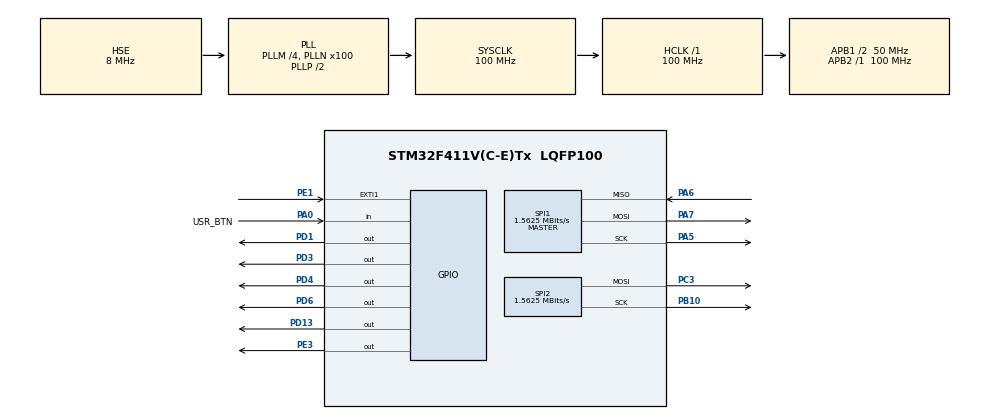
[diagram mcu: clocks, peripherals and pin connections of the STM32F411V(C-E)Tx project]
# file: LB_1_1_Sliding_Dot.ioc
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Mcu.Family=STM32F4
Mcu.Name=STM32F411V(C-E)Tx
Mcu.Package=LQFP100
NVIC.EXTI1_IRQn=true\:0\:0\:false\:true\:true\:1\:true\:true
NVIC.PriorityGroup=NVIC_PRIORITYGROUP_4
NVIC.TIM3_IRQn=true\:0\:0\:false\:true\:true\:2\:true\:true
PA0-WKUP.GPIO_Label=USR_BTN
PA0-WKUP.GPIO_PuPd=GPIO_PULLDOWN
PA0-WKUP.Signal=GPIO_Input
PA5.Mode=Full_Duplex_Master
PA5.Signal=SPI1_SCK
PA6.Mode=Full_Duplex_Master
PA6.Signal=SPI1_MISO
PA7.Mode=Full_Duplex_Master
PA7.Signal=SPI1_MOSI
PB10.Mode=TX_Only_Simplex_Unidirect_Master
PB10.Signal=SPI2_SCK
PC3.Mode=TX_Only_Simplex_Unidirect_Master
PC3.Signal=SPI2_MOSI
PD1.GPIO_PuPd=GPIO_NOPULL
PD1.Signal=GPIO_Output
PD13.Signal=GPIO_Output
PD3.GPIO_PuPd=GPIO_NOPULL
PD3.Signal=GPIO_Output
PD4.GPIO_PuPd=GPIO_NOPULL
PD4.Signal=GPIO_Output
PD6.Signal=GPIO_Output
PE1.GPIO_PuPd=GPIO_PULLDOWN
PE1.Signal=GPXTI1
PE3.GPIO_PuPd=GPIO_NOPULL
PE3.GPIO_Speed=GPIO_SPEED_FREQ_HIGH
PE3.PinState=GPIO_PIN_SET
PE3.Signal=GPIO_Output
PH0\ -\ OSC_IN.Mode=HSE-External-Oscillator
PH0\ -\ OSC_IN.Signal=RCC_OSC_IN
PH1\ -\ OSC_OUT.Mode=HSE-External-Oscillator
PH1\ -\ OSC_OUT.Signal=RCC_OSC_OUT
ProjectManager.HeapSize=0x200
ProjectManager.StackSize=0x400
ProjectManager.TargetToolchain=MDK-ARM V5.32
RCC.48MHZClocksFreq_Value=50000000
RCC.AHBFreq_Value=100000000
RCC.APB1CLKDivider=RCC_HCLK_DIV2
RCC.APB1Freq_Value=50000000
RCC.APB1TimFreq_Value=100000000
RCC.APB2Freq_Value=100000000
RCC.APB2TimFreq_Value=100000000
RCC.CortexFreq_Value=100000000
RCC.HCLKFreq_Value=100000000
RCC.HSE_VALUE=8000000
RCC.HSI_VALUE=16000000
RCC.LSE_VALUE=32768
RCC.PLLM=4
RCC.PLLN=100
RCC.PLLSourceVirtual=RCC_PLLSOURCE_HSE
RCC.SYSCLKFreq_VALUE=100000000
RCC.SYSCLKSource=RCC_SYSCLKSOURCE_PLLCLK
RCC.VCOOutputFreq_Value=200000000
SPI1.BaudRatePrescaler=SPI_BAUDRATEPRESCALER_64
SPI1.CalculateBaudRate=1.5625 MBits/s
SPI1.Direction=SPI_DIRECTION_2LINES
SPI1.Mode=SPI_MODE_MASTER
SPI1.VirtualType=VM_MASTER
SPI2.BaudRatePrescaler=SPI_BAUDRATEPRESCALER_32
SPI2.CalculateBaudRate=1.5625 MBits/s
SPI2.Direction=SPI_DIRECTION_2LINES
SPI2.Mode=SPI_MODE_MASTER
SPI2.VirtualType=VM_MASTER
TIM3.Period=50000-1
TIM3.Prescaler=5-1
VP_TIM3_VS_ClockSourceINT.Mode=Internal
board=custom

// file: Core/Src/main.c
/* USER CODE BEGIN Header */
/**
  ******************************************************************************
  * @file           : main.c
  * @brief          : Main program body
  ******************************************************************************
  * @attention
  *
  * <h2><center>&copy; Copyright (c) 2023 STMicroelectronics.
  * All rights reserved.</center></h2>
  *
  * This software component is licensed by ST under BSD 3-Clause license,
  * the "License"; You may not use this file except in compliance with the
  * License. You may obtain a copy of the License at:
  *                        opensource.org/licenses/BSD-3-Clause
  *
  ******************************************************************************
  */
/* USER CODE END Header */
#include "main.h"

SPI_HandleTypeDef hspi1;
SPI_HandleTypeDef hspi2;

TIM_HandleTypeDef htim3;

/* USER CODE BEGIN PV */

int16_t gyro_data[3] = {0};

int16_t gyro_x = 0;
int16_t gyro_y = 0;
int16_t gyro_z = 0;

Pixel p1 = {16, 8};

/* USER CODE END PV */

void SystemClock_Config(void);
static void MX_GPIO_Init(void);
static void MX_SPI1_Init(void);
static void MX_SPI2_Init(void);
static void MX_TIM3_Init(void);
static void MX_NVIC_Init(void);

int main(void)
{

  /* MCU Configuration--------------------------------------------------------*/

  /* Reset of all peripherals, Initializes the Flash interface and the Systick. */
  HAL_Init();

  /* Configure the system clock */
  SystemClock_Config();

  /* Initialize all configured peripherals */
  MX_GPIO_Init();
  MX_SPI1_Init();
  MX_SPI2_Init();
  MX_TIM3_Init();

  /* Initialize interrupts */
  MX_NVIC_Init();
  /* USER CODE BEGIN 2 */

	HAL_TIM_Base_Start_IT(&htim3);

	L3GD20_Ini();
	L3GD20_GetXYZ(gyro_data);

  /* USER CODE END 2 */

  /* Infinite loop */
  /* USER CODE BEGIN WHILE */
    while (1) {

			gyro_x = gyro_data[0] - 25;
			gyro_y = gyro_data[1] + 280;
			gyro_z = gyro_data[2];

      if (HAL_GPIO_ReadPin(USR_BTN_GPIO_Port, USR_BTN_Pin)) {
				p1.x = 16;
				p1.y = 8;
			}

			UpdateCenterPosition(&p1, gyro_y, -gyro_x);
			HAL_Delay(20);

    /* USER CODE END WHILE */

    }
}

void SystemClock_Config(void)
{
  RCC_OscInitTypeDef RCC_OscInitStruct = {0};
  RCC_ClkInitTypeDef RCC_ClkInitStruct = {0};

  /** Configure the main internal regulator output voltage
  */
  __HAL_RCC_PWR_CLK_ENABLE();
  __HAL_PWR_VOLTAGESCALING_CONFIG(PWR_REGULATOR_VOLTAGE_SCALE1);
  /** Initializes the RCC Oscillators according to the specified parameters
  * in the RCC_OscInitTypeDef structure.
  */
  RCC_OscInitStruct.OscillatorType = RCC_OSCILLATORTYPE_HSE;
  RCC_OscInitStruct.HSEState = RCC_HSE_ON;
  RCC_OscInitStruct.PLL.PLLState = RCC_PLL_ON;
  RCC_OscInitStruct.PLL.PLLSource = RCC_PLLSOURCE_HSE;
  RCC_OscInitStruct.PLL.PLLM = 4;
  RCC_OscInitStruct.PLL.PLLN = 100;
  RCC_OscInitStruct.PLL.PLLP = RCC_PLLP_DIV2;
  RCC_OscInitStruct.PLL.PLLQ = 4;
  if (HAL_RCC_OscConfig(&RCC_OscInitStruct) != HAL_OK)
  {
    Error_Handler();
  }
  /** Initializes the CPU, AHB and APB buses clocks
  */
  RCC_ClkInitStruct.ClockType = RCC_CLOCKTYPE_HCLK|RCC_CLOCKTYPE_SYSCLK
                              |RCC_CLOCKTYPE_PCLK1|RCC_CLOCKTYPE_PCLK2;
  RCC_ClkInitStruct.SYSCLKSource = RCC_SYSCLKSOURCE_PLLCLK;
  RCC_ClkInitStruct.AHBCLKDivider = RCC_SYSCLK_DIV1;
  RCC_ClkInitStruct.APB1CLKDivider = RCC_HCLK_DIV2;
  RCC_ClkInitStruct.APB2CLKDivider = RCC_HCLK_DIV1;

  if (HAL_RCC_ClockConfig(&RCC_ClkInitStruct, FLASH_LATENCY_3) != HAL_OK)
  {
    Error_Handler();
  }
}

/**
  * @brief NVIC Configuration.
  * @retval None
  */
static void MX_NVIC_Init(void)
{
  /* EXTI1_IRQn interrupt configuration */
  HAL_NVIC_SetPriority(EXTI1_IRQn, 0, 0);
  HAL_NVIC_EnableIRQ(EXTI1_IRQn);
  /* TIM3_IRQn interrupt configuration */
  HAL_NVIC_SetPriority(TIM3_IRQn, 0, 0);
  HAL_NVIC_EnableIRQ(TIM3_IRQn);
}

static void MX_SPI1_Init(void)
{

  /* SPI1 parameter configuration*/
  hspi1.Instance = SPI1;
  hspi1.Init.Mode = SPI_MODE_MASTER;
  hspi1.Init.Direction = SPI_DIRECTION_2LINES;
  hspi1.Init.DataSize = SPI_DATASIZE_8BIT;
  hspi1.Init.CLKPolarity = SPI_POLARITY_LOW;
  hspi1.Init.CLKPhase = SPI_PHASE_1EDGE;
  hspi1.Init.NSS = SPI_NSS_SOFT;
  hspi1.Init.BaudRatePrescaler = SPI_BAUDRATEPRESCALER_64;
  hspi1.Init.FirstBit = SPI_FIRSTBIT_MSB;
  hspi1.Init.TIMode = SPI_TIMODE_DISABLE;
  hspi1.Init.CRCCalculation = SPI_CRCCALCULATION_DISABLE;
  hspi1.Init.CRCPolynomial = 10;
  if (HAL_SPI_Init(&hspi1) != HAL_OK)
  {
    Error_Handler();
  }

}

static void MX_SPI2_Init(void)
{

  /* SPI2 parameter configuration*/
  hspi2.Instance = SPI2;
  hspi2.Init.Mode = SPI_MODE_MASTER;
  hspi2.Init.Direction = SPI_DIRECTION_2LINES;
  hspi2.Init.DataSize = SPI_DATASIZE_8BIT;
  hspi2.Init.CLKPolarity = SPI_POLARITY_LOW;
  hspi2.Init.CLKPhase = SPI_PHASE_1EDGE;
  hspi2.Init.NSS = SPI_NSS_SOFT;
  hspi2.Init.BaudRatePrescaler = SPI_BAUDRATEPRESCALER_32;
  hspi2.Init.FirstBit = SPI_FIRSTBIT_MSB;
  hspi2.Init.TIMode = SPI_TIMODE_DISABLE;
  hspi2.Init.CRCCalculation = SPI_CRCCALCULATION_DISABLE;
  hspi2.Init.CRCPolynomial = 10;
  if (HAL_SPI_Init(&hspi2) != HAL_OK)
  {
    Error_Handler();
  }

}

static void MX_TIM3_Init(void)
{

  TIM_ClockConfigTypeDef sClockSourceConfig = {0};
  TIM_MasterConfigTypeDef sMasterConfig = {0};

  htim3.Instance = TIM3;
  htim3.Init.Prescaler = 5-1;
  htim3.Init.CounterMode = TIM_COUNTERMODE_UP;
  htim3.Init.Period = 50000-1;
  htim3.Init.ClockDivision = TIM_CLOCKDIVISION_DIV1;
  htim3.Init.AutoReloadPreload = TIM_AUTORELOAD_PRELOAD_DISABLE;
  if (HAL_TIM_Base_Init(&htim3) != HAL_OK)
  {
    Error_Handler();
  }
  sClockSourceConfig.ClockSource = TIM_CLOCKSOURCE_INTERNAL;
  if (HAL_TIM_ConfigClockSource(&htim3, &sClockSourceConfig) != HAL_OK)
  {
    Error_Handler();
  }
  sMasterConfig.MasterOutputTrigger = TIM_TRGO_RESET;
  sMasterConfig.MasterSlaveMode = TIM_MASTERSLAVEMODE_DISABLE;
  if (HAL_TIMEx_MasterConfigSynchronization(&htim3, &sMasterConfig) != HAL_OK)
  {
    Error_Handler();
  }

}

static void MX_GPIO_Init(void)
{
  GPIO_InitTypeDef GPIO_InitStruct = {0};

  /* GPIO Ports Clock Enable */
  __HAL_RCC_GPIOE_CLK_ENABLE();
  __HAL_RCC_GPIOH_CLK_ENABLE();
  __HAL_RCC_GPIOC_CLK_ENABLE();
  __HAL_RCC_GPIOA_CLK_ENABLE();
  __HAL_RCC_GPIOB_CLK_ENABLE();
  __HAL_RCC_GPIOD_CLK_ENABLE();

  /*Configure GPIO pin Output Level */
  HAL_GPIO_WritePin(GPIOE, GPIO_PIN_3, GPIO_PIN_SET);

  /*Configure GPIO pin Output Level */
  HAL_GPIO_WritePin(GPIOD, GPIO_PIN_13|GPIO_PIN_1|GPIO_PIN_3|GPIO_PIN_4
                          |GPIO_PIN_6, GPIO_PIN_RESET);

  /*Configure GPIO pin : PE3 */
  GPIO_InitStruct.Pin = GPIO_PIN_3;
  GPIO_InitStruct.Mode = GPIO_MODE_OUTPUT_PP;
  GPIO_InitStruct.Pull = GPIO_NOPULL;
  GPIO_InitStruct.Speed = GPIO_SPEED_FREQ_HIGH;
  HAL_GPIO_Init(GPIOE, &GPIO_InitStruct);

  /*Configure GPIO pin : USR_BTN_Pin */
  GPIO_InitStruct.Pin = USR_BTN_Pin;
  GPIO_InitStruct.Mode = GPIO_MODE_INPUT;
  GPIO_InitStruct.Pull = GPIO_PULLDOWN;
  HAL_GPIO_Init(USR_BTN_GPIO_Port, &GPIO_InitStruct);

  /*Configure GPIO pins : PD13 PD1 PD3 PD4
                           PD6 */
  GPIO_InitStruct.Pin = GPIO_PIN_13|GPIO_PIN_1|GPIO_PIN_3|GPIO_PIN_4
                          |GPIO_PIN_6;
  GPIO_InitStruct.Mode = GPIO_MODE_OUTPUT_PP;
  GPIO_InitStruct.Pull = GPIO_NOPULL;
  GPIO_InitStruct.Speed = GPIO_SPEED_FREQ_LOW;
  HAL_GPIO_Init(GPIOD, &GPIO_InitStruct);

  /*Configure GPIO pin : PE1 */
  GPIO_InitStruct.Pin = GPIO_PIN_1;
  GPIO_InitStruct.Mode = GPIO_MODE_IT_RISING;
  GPIO_InitStruct.Pull = GPIO_PULLDOWN;
  HAL_GPIO_Init(GPIOE, &GPIO_InitStruct);

}

void Error_Handler(void)
{
    __disable_irq();
    while (1) {
    }
}

/************************ (C) COPYRIGHT STMicroelectronics *****END OF FILE****/
